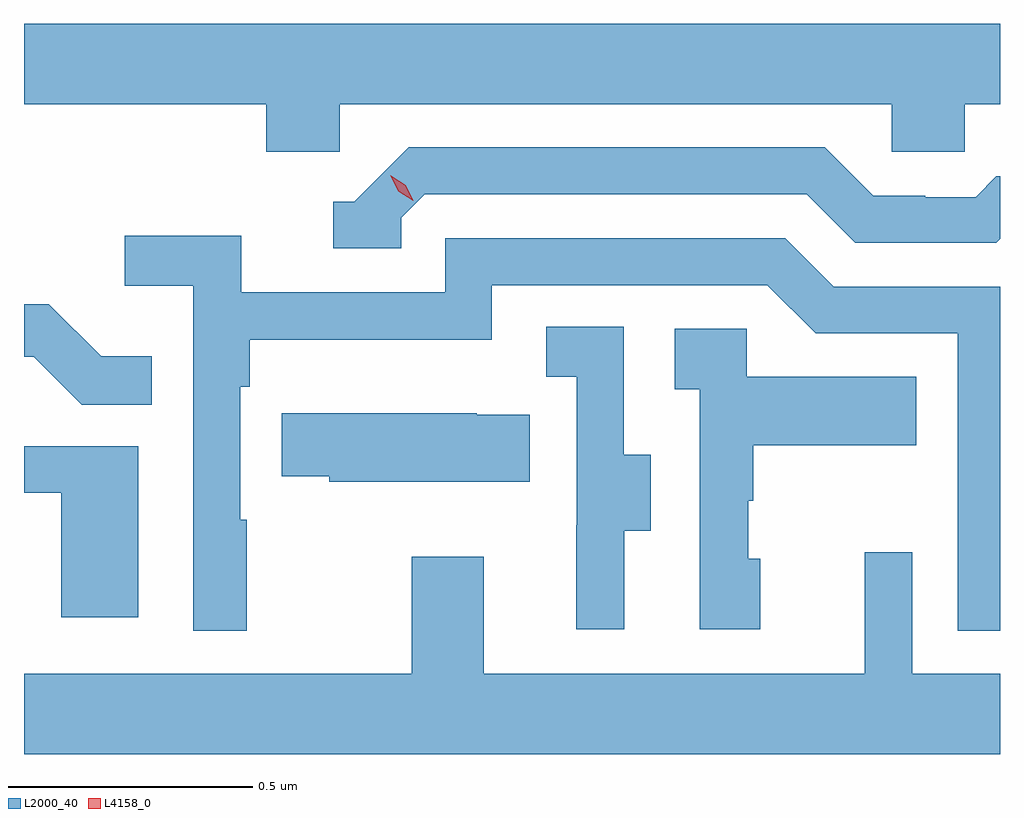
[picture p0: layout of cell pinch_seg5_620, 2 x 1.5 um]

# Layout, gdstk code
import gdstk
lib = gdstk.Library(unit=1e-6, precision=1e-09)
def P(c, l, *ps):  # polygons
    for p in ps: c.add(gdstk.Polygon(p, *l))
L2000_40 = (2000, 40)
L4158_0 = (4158, 0)

pinch_seg5_620 = lib.new_cell('pinch_seg5_620')
P(pinch_seg5_620, L2000_40, [(1019.934,874.076),(1021.065,874.076),(1021.065,873.978),(1021.215,873.978),(1021.215,874.076),(1021.287,874.076),(1021.287,874.24),(1019.287,874.24),(1019.287,874.076),(1019.783,874.076),(1019.783,873.978),(1019.934,873.978)],
  [(1020.06,873.843),(1020.108,873.891),(1020.891,873.891),(1020.99,873.792),(1021.279,873.792),(1021.287,873.8),(1021.287,873.928),(1021.279,873.928),(1021.237,873.885),(1021.134,873.885),(1021.134,873.888),(1021.027,873.888),(1020.928,873.987),(1020.075,873.987),(1019.964,873.876),(1019.921,873.876),(1019.921,873.78),(1020.06,873.78)],
  [(1019.743,873.224),(1019.73,873.224),(1019.73,873.497),(1019.75,873.497),(1019.75,873.593),(1020.246,873.593),(1020.246,873.705),(1020.81,873.705),(1020.909,873.606),(1021.2,873.606),(1021.2,872.997),(1021.287,872.997),(1021.287,873.702),(1020.946,873.702),(1020.847,873.801),(1020.15,873.801),(1020.15,873.69),(1019.732,873.69),(1019.732,873.806),(1019.493,873.806),(1019.493,873.704),(1019.634,873.704),(1019.634,872.997),(1019.743,872.997)],
  [(1019.549,873.559),(1019.445,873.559),(1019.338,873.666),(1019.287,873.666),(1019.287,873.558),(1019.307,873.558),(1019.405,873.46),(1019.549,873.46)],
  [(1020.517,873.202),(1020.571,873.202),(1020.571,873.357),(1020.516,873.357),(1020.516,873.62),(1020.357,873.62),(1020.357,873.517),(1020.42,873.517),(1020.42,873.213),(1020.419,873.213),(1020.419,873),(1020.517,873)],
  [(1020.796,873.144),(1020.771,873.144),(1020.771,873.263),(1020.781,873.263),(1020.781,873.377),(1021.115,873.377),(1021.115,873.517),(1020.768,873.517),(1020.768,873.615),(1020.621,873.615),(1020.621,873.491),(1020.672,873.491),(1020.672,873),(1020.796,873)],
  [(1020.323,873.439),(1020.215,873.439),(1020.215,873.442),(1019.815,873.442),(1019.815,873.313),(1019.913,873.313),(1019.913,873.302),(1020.323,873.302)],
  [(1019.521,873.375),(1019.287,873.375),(1019.287,873.279),(1019.363,873.279),(1019.363,873.024),(1019.521,873.024)],
  [(1021.287,872.908),(1021.107,872.908),(1021.107,873.157),(1021.01,873.157),(1021.01,872.908),(1020.229,872.908),(1020.229,873.148),(1020.082,873.148),(1020.082,872.908),(1019.287,872.908),(1019.287,872.744),(1021.287,872.744)])
P(pinch_seg5_620, L4158_0, [(1020.085,873.878),(1020.054,873.897),(1020.037,873.93),(1020.037,873.93),(1020.038,873.93),(1020.069,873.91),(1020.085,873.878),(1020.085,873.878)])

lib.write_gds('pinch_seg5_620.gds')
